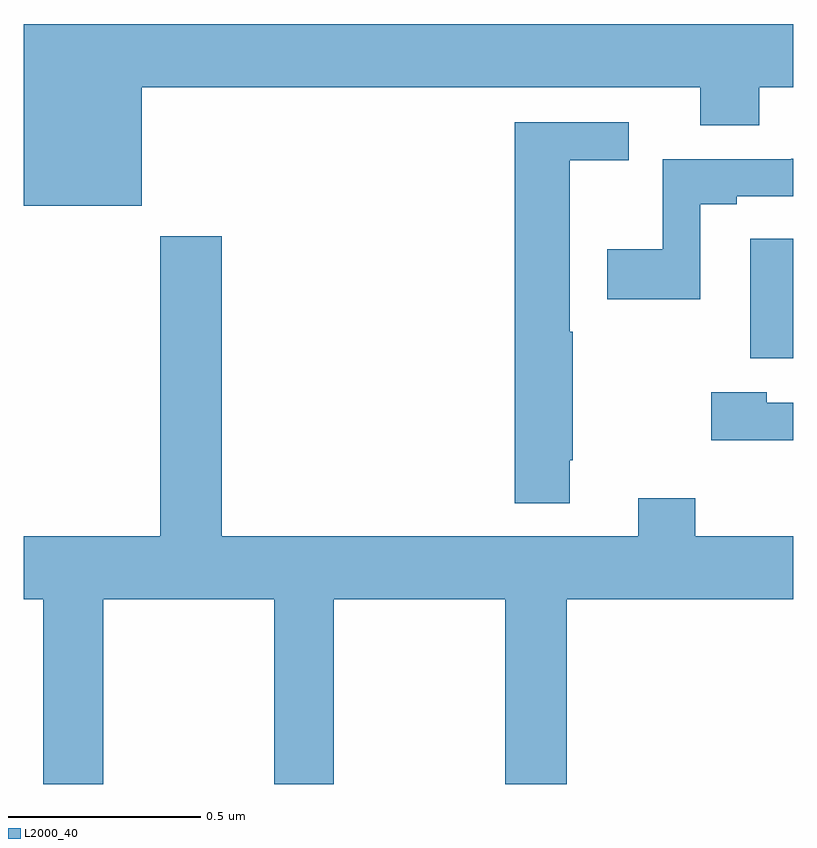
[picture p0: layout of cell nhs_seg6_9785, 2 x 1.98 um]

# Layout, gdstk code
import gdstk
lib = gdstk.Library(unit=1e-6, precision=1e-09)
def R(c, l, rs):  # rectangles x0, y0, x1, y1
    for r in rs: c.add(gdstk.rectangle(r[:2], r[2:], *l))
def P(c, l, *ps):  # polygons
    for p in ps: c.add(gdstk.Polygon(p, *l))
L2000_40 = (2000, 40)

nhs_seg6_9785 = lib.new_cell('nhs_seg6_9785')
R(nhs_seg6_9785, L2000_40, [(239.888,970.607,240,970.918)])
P(nhs_seg6_9785, L2000_40, [(238.306,971.312),(239.759,971.312),(239.759,971.213),(239.912,971.213),(239.912,971.312),(240,971.312),(240,971.476),(238,971.476),(238,971.003),(238.306,971.003)],
  [(239.419,970.342),(239.427,970.342),(239.427,970.676),(239.419,970.676),(239.419,971.122),(239.572,971.122),(239.572,971.22),(239.276,971.22),(239.276,970.23),(239.419,970.23)],
  [(239.758,971.008),(239.854,971.008),(239.854,971.028),(240,971.028),(240,971.126),(239.995,971.126),(239.995,971.124),(239.661,971.124),(239.661,970.891),(239.517,970.891),(239.517,970.76),(239.758,970.76)],
  [(238.206,969.98),(238.651,969.98),(238.651,969.5),(238.806,969.5),(238.806,969.98),(239.251,969.98),(239.251,969.5),(239.411,969.5),(239.411,969.98),(240,969.98),(240,970.144),(239.745,970.144),(239.745,970.243),(239.597,970.243),(239.597,970.144),(238.514,970.144),(238.514,970.924),(238.354,970.924),(238.354,970.144),(238,970.144),(238,969.98),(238.051,969.98),(238.051,969.5),(238.206,969.5)],
  [(240,970.491),(239.931,970.491),(239.931,970.519),(239.787,970.519),(239.787,970.394),(240,970.394)])

lib.write_gds('nhs_seg6_9785.gds')
